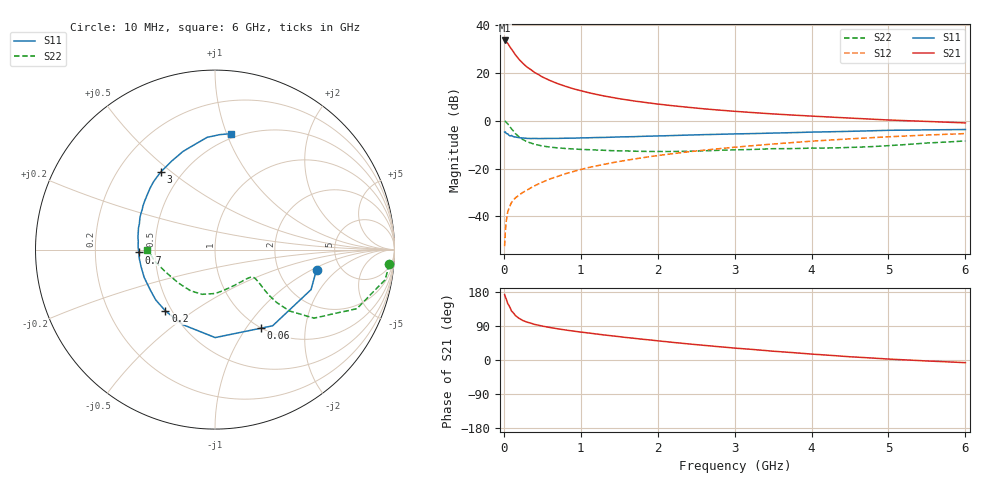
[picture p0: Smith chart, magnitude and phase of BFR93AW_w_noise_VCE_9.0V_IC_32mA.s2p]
! Infineon Technologies  Discrete & RF Semiconductors
! BFR93AW
! VCE =  9.0 V,  IC =  32 mA
! Common Emitter S-Parameters:  Jan 2017
# GHz  S  MA  R  50
!  f  S11  S21  S12  S22
! GHz  MAG  ANG  MAG  ANG  MAG  ANG  MAG  ANG
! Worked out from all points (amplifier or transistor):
!   77 points, 10 MHz to 6 GHz, reference 50 ohm
!   highest |S21| = 33.4 dB at 10 MHz (marker M1)
!   |S21| within 3 dB of that: start of sweep to 86.15 MHz
!   unconditionally stable (mu >= 1): 611.7 MHz to 2.045 GHz
!   at 130 MHz: K = 0.51, MSG = 30.7 dB, |S12| = -33.0 dB
!   at 2.2 GHz: K = 0.99, MSG = 10.0 dB, |S12| = -13.8 dB
!   at 6 GHz: K = 0.86, MSG = 2.2 dB, |S12| = -5.4 dB
!   lowest NFmin = 1.86 dB at 450 MHz
!   S11 on the Smith chart (normalised r, x): 10 MHz: 3.32, -1.11; 60 MHz: 1.00, -1.18; 200 MHz: 0.46, -0.39; 700 MHz: 0.40, -0.02; 3 GHz: 0.38, +0.46; 6 GHz: 0.46, +1.04
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0.01  0.5765 -11.2  46.97 172.6  0.0024 79.1  0.975 -4.8
0.02  0.5798 -22.6  46.47 166.5  0.0051 82.6  0.9624 -10.1
0.05  0.5323 -52.9  40.89 149.1  0.0123 71.9  0.8563 -22.6
0.06  0.5076 -59.6  38.59 146.0  0.0137 69.6  0.8167 -24.6
0.1  0.4902 -89.9  30.94 129.2  0.0196 63.7  0.6708 -34.7
0.15  0.4551 -113.3  23.62 117.3  0.0244 58.4  0.5369 -39.5
0.2  0.4394 -128.9  18.77 109.6  0.0281 60.1  0.4545 -40.6
0.25  0.4332 -139.7  15.52 103.9  0.0319 61.0  0.4008 -40.3
0.3  0.4252 -147.7  13.12 100.0  0.0353 61.8  0.3632 -39.4
0.4  0.424 -158.6  10.1 93.9  0.0436 65.3  0.3201 -37.6
0.5  0.4226 -166.8  8.154 89.5  0.0519 66.9  0.2953 -36.5
0.6  0.4245 -172.9  6.861 85.7  0.0607 68.2  0.28 -35.8
0.7  0.4253 -177.9  5.907 82.4  0.0686 69.3  0.2695 -35.6
0.9  0.4298 174.0  4.632 76.4  0.0863 70.2  0.2562 -36.9
1.1  0.4382 167.3  3.832 71.3  0.1046 70.3  0.2475 -39.3
1.5  0.456 156.1  2.865 61.6  0.1401 68.8  0.234 -47.1
2.1  0.4826 142.2  2.124 48.6  0.1952 64.8  0.2265 -64.4
3  0.5276 124.9  1.562 31.4  0.2781 57.5  0.2456 -92.4
3.1  0.5309 123.1  1.523 29.9  0.2872 56.5  0.2472 -95.2
4.1  0.579 106.5  1.218 14.3  0.3804 46.6  0.2667 -124.0
5.1  0.6292 92.7  1.015 1.5  0.4671 35.8  0.3069 -157.9
6  0.6521 82.1  0.894 -7.1  0.5361 25.7  0.3761 -179.8
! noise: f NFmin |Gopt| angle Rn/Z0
0.45  1.86  0.19  175  0.16
0.9  2.12  0.26  -174  0.16
1.9  3.16  0.51  -135  0.3
2.4  3.82  0.56  -124  0.57
